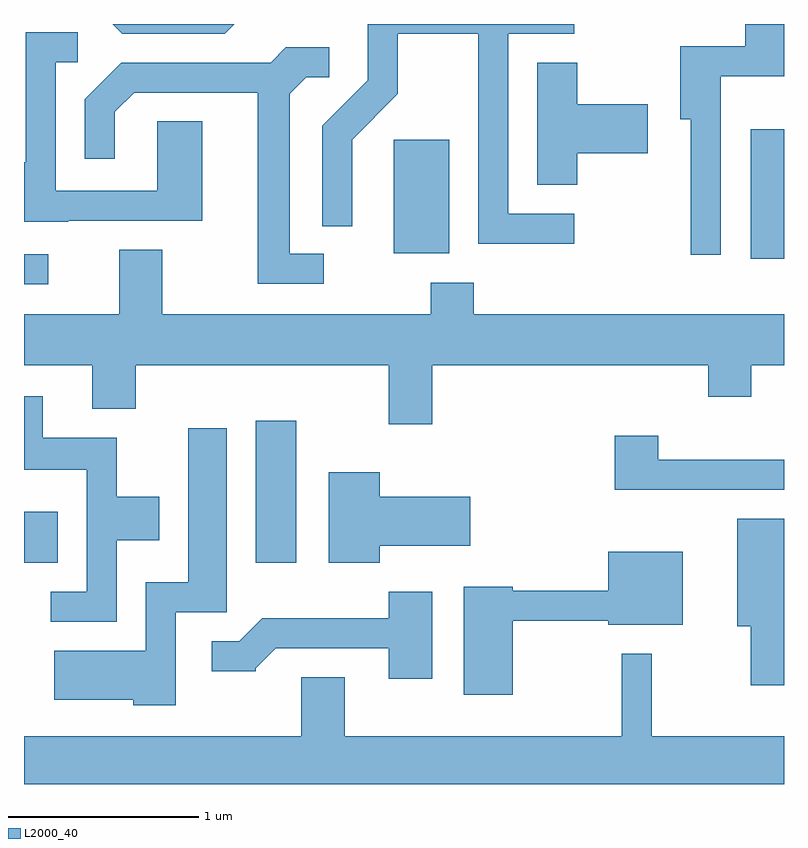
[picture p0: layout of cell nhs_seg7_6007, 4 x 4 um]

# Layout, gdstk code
import gdstk
lib = gdstk.Library(unit=1e-6, precision=1e-09)
def R(c, l, rs):  # rectangles x0, y0, x1, y1
    for r in rs: c.add(gdstk.rectangle(r[:2], r[2:], *l))
def P(c, l, *ps):  # polygons
    for p in ps: c.add(gdstk.Polygon(p, *l))
L2000_40 = (2000, 40)

nhs_seg7_6007 = lib.new_cell('nhs_seg7_6007')
R(nhs_seg7_6007, L2000_40, [(367.611,1795.416,367.789,1795.684), (368.831,1795.416,369.044,1796.164), (367.611,1796.881,367.738,1797.039), (371.436,1797.016,371.611,1797.699), (369.556,1797.046,369.849,1797.644)])
P(nhs_seg7_6007, L2000_40, [(371.279,1797.976),(371.611,1797.976),(371.611,1798.252),(371.406,1798.252),(371.406,1798.134),(371.066,1798.134),(371.066,1797.751),(371.121,1797.751),(371.121,1797.038),(371.279,1797.038)],
  [(368.718,1798.252),(368.078,1798.252),(368.129,1798.201),(368.667,1798.201)],
  [(370.508,1797.254),(370.159,1797.254),(370.159,1798.201),(370.508,1798.201),(370.508,1798.252),(369.421,1798.252),(369.421,1797.957),(369.181,1797.717),(369.181,1797.188),(369.339,1797.188),(369.339,1797.644),(369.579,1797.884),(369.579,1798.201),(370.001,1798.201),(370.001,1797.096),(370.508,1797.096)],
  [(367.845,1797.216),(368.549,1797.216),(368.549,1797.739),(368.311,1797.739),(368.311,1797.374),(367.779,1797.374),(367.779,1798.051),(367.893,1798.051),(367.893,1798.209),(367.621,1798.209),(367.621,1797.524),(367.611,1797.524),(367.611,1797.211),(367.845,1797.211)],
  [(369.188,1797.044),(369.009,1797.044),(369.009,1797.884),(369.097,1797.971),(369.218,1797.971),(369.218,1798.129),(368.989,1798.129),(368.909,1798.049),(368.124,1798.049),(367.931,1797.857),(367.931,1797.543),(368.089,1797.543),(368.089,1797.789),(368.192,1797.891),(368.841,1797.891),(368.841,1796.886),(369.188,1796.886)],
  [(370.524,1797.571),(370.894,1797.571),(370.894,1797.829),(370.524,1797.829),(370.524,1798.049),(370.311,1798.049),(370.311,1797.406),(370.524,1797.406)],
  [(369.759,1796.456),(371.211,1796.456),(371.211,1796.291),(371.439,1796.291),(371.439,1796.456),(371.611,1796.456),(371.611,1796.724),(369.979,1796.724),(369.979,1796.889),(369.751,1796.889),(369.751,1796.724),(368.339,1796.724),(368.339,1797.064),(368.111,1797.064),(368.111,1796.724),(367.611,1796.724),(367.611,1796.456),(367.971,1796.456),(367.971,1796.226),(368.199,1796.226),(368.199,1796.456),(369.531,1796.456),(369.531,1796.146),(369.759,1796.146)],
  [(368.099,1795.536),(368.324,1795.536),(368.324,1795.764),(368.099,1795.764),(368.099,1796.074),(367.709,1796.074),(367.709,1796.294),(367.611,1796.294),(367.611,1795.906),(367.941,1795.906),(367.941,1795.264),(367.753,1795.264),(367.753,1795.106),(368.099,1795.106)],
  [(368.409,1795.156),(368.679,1795.156),(368.679,1796.124),(368.476,1796.124),(368.476,1795.314),(368.251,1795.314),(368.251,1794.954),(367.771,1794.954),(367.771,1794.696),(368.186,1794.696),(368.186,1794.666),(368.409,1794.666)],
  [(371.611,1795.959),(370.949,1795.959),(370.949,1796.084),(370.721,1796.084),(370.721,1795.801),(371.611,1795.801)],
  [(369.484,1795.506),(369.959,1795.506),(369.959,1795.764),(369.484,1795.764),(369.484,1795.894),(369.216,1795.894),(369.216,1795.416),(369.484,1795.416)],
  [(371.611,1795.649),(371.366,1795.649),(371.366,1795.081),(371.436,1795.081),(371.436,1794.771),(371.611,1794.771)],
  [(370.184,1795.111),(370.686,1795.111),(370.686,1795.091),(371.079,1795.091),(371.079,1795.474),(370.686,1795.474),(370.686,1795.269),(370.184,1795.269),(370.184,1795.289),(369.926,1795.289),(369.926,1794.721),(370.184,1794.721)],
  [(369.759,1795.264),(369.531,1795.264),(369.531,1795.124),(368.864,1795.124),(368.744,1795.004),(368.598,1795.004),(368.598,1794.846),(368.83,1794.846),(368.83,1794.86),(368.937,1794.966),(369.531,1794.966),(369.531,1794.806),(369.759,1794.806)],
  [(371.611,1794.504),(370.914,1794.504),(370.914,1794.938),(370.756,1794.938),(370.756,1794.504),(369.299,1794.504),(369.299,1794.814),(369.071,1794.814),(369.071,1794.504),(367.611,1794.504),(367.611,1794.252),(371.611,1794.252)])

lib.write_gds('nhs_seg7_6007.gds')
